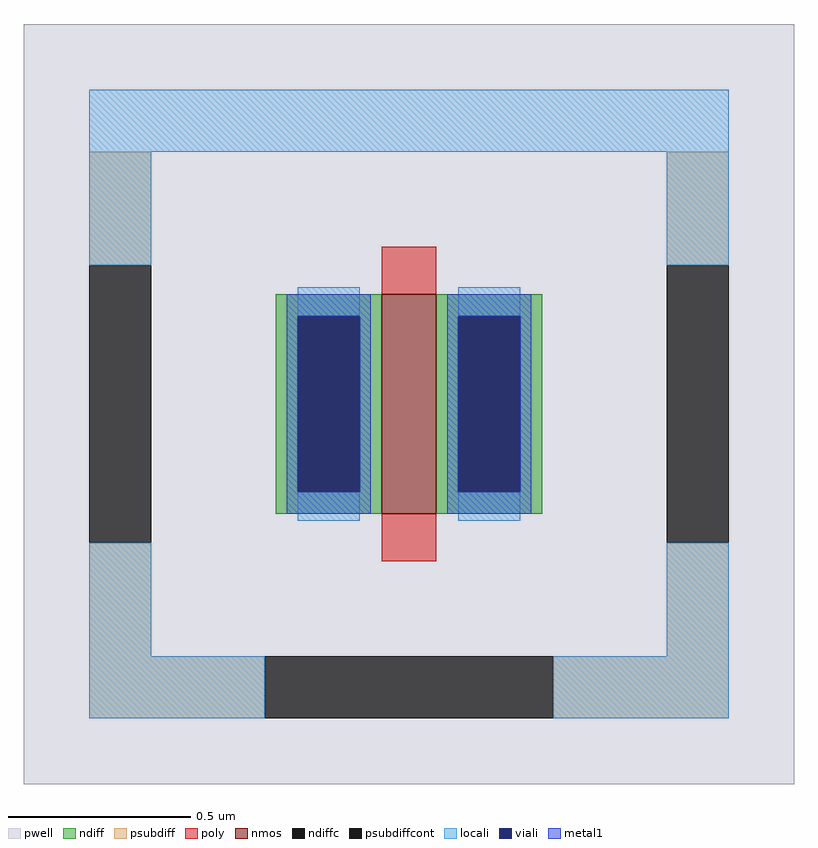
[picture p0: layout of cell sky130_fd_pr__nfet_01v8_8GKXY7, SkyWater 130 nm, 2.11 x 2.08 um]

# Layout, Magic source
magic
tech sky130A
magscale 1 2
<< pwell >>
rect -211 -208 211 208
<< nmos >>
rect -15 -60 15 60
<< ndiff >>
rect -73 48 -15 60
rect -73 -48 -61 48
rect -27 -48 -15 48
rect -73 -60 -15 -48
rect 15 48 73 60
rect 15 -48 27 48
rect 61 -48 73 48
rect 15 -60 73 -48
<< ndiffc >>
rect -61 -48 -27 48
rect 27 -48 61 48
<< psubdiff >>
rect -175 76 -141 138
rect 141 76 175 138
rect -175 -138 -141 -76
rect 141 -138 175 -76
rect -175 -172 -79 -138
rect 79 -172 175 -138
<< psubdiffcont >>
rect -175 -76 -141 76
rect 141 -76 175 76
rect -79 -172 79 -138
<< poly >>
rect -15 60 15 86
rect -15 -86 15 -60
<< locali >>
rect -175 138 175 172
rect -175 76 -141 138
rect 141 76 175 138
rect -61 48 -27 64
rect -61 -64 -27 -48
rect 27 48 61 64
rect 27 -64 61 -48
rect -175 -138 -141 -76
rect 141 -138 175 -76
rect -175 -172 -79 -138
rect 79 -172 175 -138
<< viali >>
rect -61 -48 -27 48
rect 27 -48 61 48
<< metal1 >>
rect -67 48 -21 60
rect -67 -48 -61 48
rect -27 -48 -21 48
rect -67 -60 -21 -48
rect 21 48 67 60
rect 21 -48 27 48
rect 61 -48 67 48
rect 21 -60 67 -48
<< properties >>
string gencell sky130_fd_pr__nfet_01v8
string FIXED_BBOX -158 -155 158 155
string parameters w 0.6 l 0.150 m 1 nf 1 diffcov 100 polycov 100 guard 1 glc 1 grc 1 gtc 0 gbc 1 tbcov 100 rlcov 100 topc 0 botc 0 poverlap 0 doverlap 1 lmin 0.15 wmin 0.42 compatible {sky130_fd_pr__nfet_01v8 sky130_fd_pr__nfet_01v8_lvt  sky130_fd_bs_flash__special_sonosfet_star  sky130_fd_pr__nfet_g5v0d10v5 sky130_fd_pr__nfet_05v0_nvt} full_metal 1 viasrc 100 viadrn 100 viagate 100 viagb 0 viagr 0 viagl 0 viagt 0
string library sky130
<< end >>
